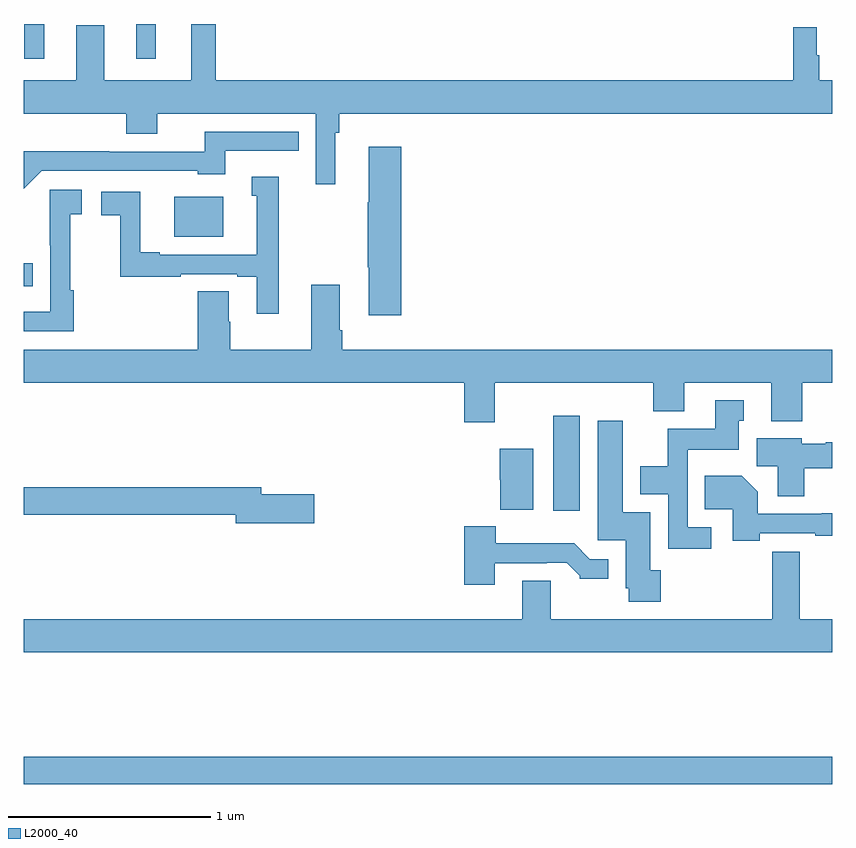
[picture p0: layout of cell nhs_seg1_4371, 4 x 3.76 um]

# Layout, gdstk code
import gdstk
lib = gdstk.Library(unit=1e-6, precision=1e-09)
def R(c, l, rs):  # rectangles x0, y0, x1, y1
    for r in rs: c.add(gdstk.rectangle(r[:2], r[2:], *l))
def P(c, l, *ps):  # polygons
    for p in ps: c.add(gdstk.Polygon(p, *l))
L2000_40 = (2000, 40)

nhs_seg1_4371 = lib.new_cell('nhs_seg1_4371')
R(nhs_seg1_4371, L2000_40, [(349,524.44,353,524.576), (351.62,525.792,351.751,526.261), (349,526.902,349.046,527.015), (349.745,527.147,349.987,527.344), (349.004,528.027,349.102,528.199), (349.556,528.027,349.654,528.199)])
P(nhs_seg1_4371, L2000_40, [(350.542,527.66),(350.561,527.66),(350.561,527.756),(353,527.756),(353,527.92),(352.936,527.92),(352.936,528.044),(352.924,528.044),(352.924,528.184),(352.807,528.184),(352.807,527.92),(349.951,527.92),(349.951,528.199),(349.829,528.199),(349.829,527.92),(349.399,527.92),(349.399,528.193),(349.259,528.193),(349.259,527.92),(349,527.92),(349,527.756),(349.508,527.756),(349.508,527.657),(349.66,527.657),(349.66,527.756),(350.445,527.756),(350.445,527.406),(350.542,527.406)],
  [(349.089,527.472),(349.86,527.472),(349.86,527.456),(349.996,527.456),(349.996,527.571),(350.36,527.571),(350.36,527.667),(349.897,527.667),(349.897,527.568),(349.424,527.568),(349.424,527.57),(349,527.57),(349,527.383)],
  [(350.867,527.593),(350.708,527.593),(350.708,527.318),(350.701,527.318),(350.701,526.996),(350.708,526.996),(350.708,526.758),(350.867,526.758)],
  [(350.263,527.443),(350.129,527.443),(350.129,527.349),(350.153,527.349),(350.153,527.058),(349.672,527.058),(349.672,527.071),(349.576,527.071),(349.576,527.37),(349.383,527.37),(349.383,527.254),(349.477,527.254),(349.477,526.95),(349.778,526.95),(349.778,526.962),(350.057,526.962),(350.057,526.95),(350.153,526.95),(350.153,526.767),(350.263,526.767)],
  [(349.247,526.883),(349.23,526.883),(349.23,527.259),(349.288,527.259),(349.288,527.38),(349.13,527.38),(349.13,527.104),(349.131,527.104),(349.131,526.776),(349,526.776),(349,526.68),(349.247,526.68)],
  [(351.331,526.424),(352.115,526.424),(352.115,526.283),(352.267,526.283),(352.267,526.424),(352.697,526.424),(352.697,526.235),(352.85,526.235),(352.85,526.424),(353,526.424),(353,526.588),(350.576,526.588),(350.576,526.684),(350.563,526.684),(350.563,526.909),(350.423,526.909),(350.423,526.588),(350.022,526.588),(350.022,526.727),(350.014,526.727),(350.014,526.877),(349.862,526.877),(349.862,526.588),(349,526.588),(349,526.424),(351.179,526.424),(351.179,526.23),(351.331,526.23)],
  [(352.402,525.711),(352.284,525.711),(352.284,526.094),(352.537,526.094),(352.537,526.236),(352.561,526.236),(352.561,526.339),(352.421,526.339),(352.421,526.198),(352.186,526.198),(352.186,526.012),(352.049,526.012),(352.049,525.872),(352.188,525.872),(352.188,525.603),(352.402,525.603)],
  [(352.151,525.498),(352.099,525.498),(352.099,525.784),(351.964,525.784),(351.964,526.237),(351.839,526.237),(351.839,525.645),(351.977,525.645),(351.977,525.408),(351.994,525.408),(351.994,525.342),(352.151,525.342)],
  [(352.86,526.001),(353,526.001),(353,526.131),(352.968,526.131),(352.968,526.123),(352.848,526.123),(352.848,526.15),(352.625,526.15),(352.625,526.012),(352.73,526.012),(352.73,525.864),(352.86,525.864)],
  [(351.52,526.099),(351.356,526.099),(351.356,525.945),(351.358,525.945),(351.358,525.797),(351.52,525.797)],
  [(352.642,525.681),(352.915,525.681),(352.915,525.669),(353,525.669),(353,525.78),(352.948,525.78),(352.948,525.777),(352.63,525.777),(352.63,525.886),(352.552,525.964),(352.369,525.964),(352.369,525.8),(352.508,525.8),(352.508,525.643),(352.642,525.643)],
  [(350.437,525.872),(350.176,525.872),(350.176,525.908),(349,525.908),(349,525.772),(350.048,525.772),(350.048,525.73),(350.437,525.73)],
  [(351.331,525.531),(351.587,525.531),(351.587,525.534),(351.686,525.534),(351.75,525.47),(351.75,525.455),(351.892,525.455),(351.892,525.552),(351.801,525.552),(351.723,525.631),(351.334,525.631),(351.334,525.715),(351.179,525.715),(351.179,525.426),(351.331,525.426)],
  [(353,525.256),(352.838,525.256),(352.838,525.589),(352.702,525.589),(352.702,525.256),(351.607,525.256),(351.607,525.446),(351.467,525.446),(351.467,525.256),(349,525.256),(349,525.092),(353,525.092)])

lib.write_gds('nhs_seg1_4371.gds')
